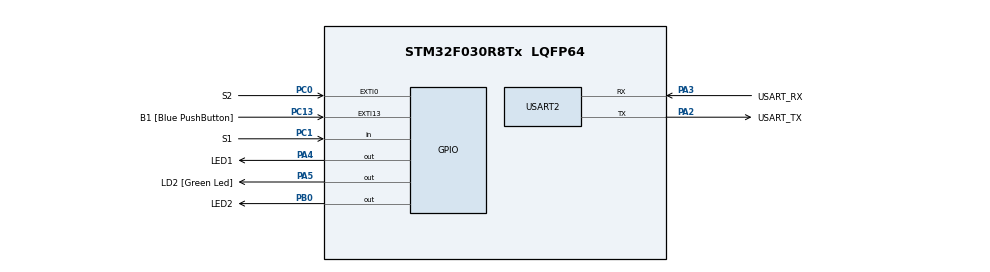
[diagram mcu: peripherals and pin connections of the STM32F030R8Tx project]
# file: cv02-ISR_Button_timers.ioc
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Mcu.Family=STM32F0
Mcu.Name=STM32F030R8Tx
Mcu.Package=LQFP64
NVIC.EXTI0_1_IRQn=true\:0\:0\:false\:false\:true\:true\:true\:true
PA13.GPIO_Label=TMS
PA13.Mode=Serial_Wire
PA13.Signal=SYS_SWDIO
PA14.GPIO_Label=TCK
PA14.Mode=Serial_Wire
PA14.Signal=SYS_SWCLK
PA2.GPIO_Label=USART_TX
PA2.GPIO_Mode=GPIO_MODE_AF_PP
PA2.GPIO_PuPd=GPIO_NOPULL
PA2.GPIO_Speed=GPIO_SPEED_FREQ_LOW
PA2.Mode=Asynchronous
PA2.Signal=USART2_TX
PA3.GPIO_Label=USART_RX
PA3.GPIO_Mode=GPIO_MODE_AF_PP
PA3.GPIO_PuPd=GPIO_NOPULL
PA3.GPIO_Speed=GPIO_SPEED_FREQ_LOW
PA3.Mode=Asynchronous
PA3.Signal=USART2_RX
PA4.GPIO_Label=LED1
PA4.Signal=GPIO_Output
PA5.GPIO_Label=LD2 [Green Led]
PA5.GPIO_Mode=GPIO_MODE_OUTPUT_PP
PA5.GPIO_PuPd=GPIO_NOPULL
PA5.GPIO_Speed=GPIO_SPEED_FREQ_LOW
PA5.Signal=GPIO_Output
PB0.GPIO_Label=LED2
PB0.Signal=GPIO_Output
PC0.GPIO_Label=S2
PC0.GPIO_PuPd=GPIO_PULLUP
PC0.Signal=GPXTI0
PC1.GPIO_Label=S1
PC1.GPIO_PuPd=GPIO_PULLUP
PC1.Signal=GPIO_Input
PC13.GPIO_Label=B1 [Blue PushButton]
PC13.GPIO_ModeDefaultEXTI=GPIO_MODE_IT_FALLING
PC13.Signal=GPXTI13
PC14-OSC32_IN.Mode=LSE-External-Oscillator
PC14-OSC32_IN.Signal=RCC_OSC32_IN
PC15-OSC32_OUT.Mode=LSE-External-Oscillator
PC15-OSC32_OUT.Signal=RCC_OSC32_OUT
PF0-OSC_IN.Mode=HSE-External-Clock-Source
PF0-OSC_IN.Signal=RCC_OSC_IN
PF1-OSC_OUT.Signal=RCC_OSC_OUT
ProjectManager.HeapSize=0x200
ProjectManager.StackSize=0x400
ProjectManager.TargetToolchain=STM32CubeIDE
RCC.AHBFreq_Value=48000000
RCC.APB1Freq_Value=48000000
RCC.APB1TimFreq_Value=48000000
RCC.HCLKFreq_Value=48000000
RCC.PLLMUL=RCC_PLL_MUL12
RCC.SYSCLKFreq_VALUE=48000000
RCC.SYSCLKSource=RCC_SYSCLKSOURCE_PLLCLK
USART2.VirtualMode-Asynchronous=VM_ASYNC
board=NUCLEO-F030R8

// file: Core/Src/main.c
/* USER CODE BEGIN Header */
/**
  ******************************************************************************
  * @file           : main.c
  * @brief          : Main program body
  ******************************************************************************
  * @attention
  *
  * Copyright (c) 2023 STMicroelectronics.
  * All rights reserved.
  *
  * This software is licensed under terms that can be found in the LICENSE file
  * in the root directory of this software component.
  * If no LICENSE file comes with this software, it is provided AS-IS.
  *
  ******************************************************************************
  */
/* USER CODE END Header */
#include "main.h"

/* USER CODE BEGIN PD */
#define LED_TIME_BLINK 300
#define LED_TIME_SHORT 100
#define LED_TIME_LONG 1000
/* USER CODE END PD */

void SystemClock_Config(void);
static void MX_GPIO_Init(void);
static void MX_USART2_UART_Init(void);

/* USER CODE BEGIN 0 */
volatile uint32_t Tick;

void blikac(void)	{
	static uint32_t delay;

	if (Tick > delay + LED_TIME_BLINK) {
		delay = Tick;
		LL_GPIO_TogglePin(LED1_GPIO_Port, LED1_Pin);
	}
}

void tlacitka(void)	{
	static uint32_t old_s2;
	static uint32_t old_s1;
	static uint32_t off_time;
	// static uint16_t debounce = 0xFFFF;
	uint32_t new_s2 = LL_GPIO_IsInputPinSet(S2_GPIO_Port, S2_Pin);
	uint32_t new_s1 = LL_GPIO_IsInputPinSet(S1_GPIO_Port, S1_Pin);

	if (old_s2 && !new_s2) {
		off_time = Tick + LED_TIME_SHORT;
		LL_GPIO_SetOutputPin(LED2_GPIO_Port, LED2_Pin);
	}
	old_s2 = new_s2;

	if (old_s1 && !new_s1) {
			off_time = Tick + LED_TIME_LONG;
			LL_GPIO_SetOutputPin(LED2_GPIO_Port, LED2_Pin);
		}
	old_s1 = new_s1;

	if (Tick > off_time) {
		LL_GPIO_ResetOutputPin(LED2_GPIO_Port, LED2_Pin);
	}
}
/* USER CODE END 0 */

int main(void)
{

  /* MCU Configuration--------------------------------------------------------*/

  /* Reset of all peripherals, Initializes the Flash interface and the Systick. */
  LL_APB1_GRP2_EnableClock(LL_APB1_GRP2_PERIPH_SYSCFG);
  LL_APB1_GRP1_EnableClock(LL_APB1_GRP1_PERIPH_PWR);

  /* Configure the system clock */
  SystemClock_Config();

  /* Initialize all configured peripherals */
  MX_GPIO_Init();
  MX_USART2_UART_Init();
  /* USER CODE BEGIN 2 */
  LL_SYSTICK_EnableIT();
  /* USER CODE END 2 */

  /* Infinite loop */
  /* USER CODE BEGIN WHILE */
  while (1)
  {
	  blikac();
	  tlacitka();
    /* USER CODE END WHILE */

  }
}

void SystemClock_Config(void)
{
  LL_FLASH_SetLatency(LL_FLASH_LATENCY_1);
  while(LL_FLASH_GetLatency() != LL_FLASH_LATENCY_1)
  {
  }
  LL_RCC_HSI_Enable();

   /* Wait till HSI is ready */
  while(LL_RCC_HSI_IsReady() != 1)
  {

  }
  LL_RCC_HSI_SetCalibTrimming(16);
  LL_RCC_PLL_ConfigDomain_SYS(LL_RCC_PLLSOURCE_HSI_DIV_2, LL_RCC_PLL_MUL_12);
  LL_RCC_PLL_Enable();

   /* Wait till PLL is ready */
  while(LL_RCC_PLL_IsReady() != 1)
  {

  }
  LL_RCC_SetAHBPrescaler(LL_RCC_SYSCLK_DIV_1);
  LL_RCC_SetAPB1Prescaler(LL_RCC_APB1_DIV_1);
  LL_RCC_SetSysClkSource(LL_RCC_SYS_CLKSOURCE_PLL);

   /* Wait till System clock is ready */
  while(LL_RCC_GetSysClkSource() != LL_RCC_SYS_CLKSOURCE_STATUS_PLL)
  {

  }
  LL_Init1msTick(48000000);
  LL_SetSystemCoreClock(48000000);
}

static void MX_USART2_UART_Init(void)
{

  LL_USART_InitTypeDef USART_InitStruct = {0};

  LL_GPIO_InitTypeDef GPIO_InitStruct = {0};

  /* Peripheral clock enable */
  LL_APB1_GRP1_EnableClock(LL_APB1_GRP1_PERIPH_USART2);

  LL_AHB1_GRP1_EnableClock(LL_AHB1_GRP1_PERIPH_GPIOA);
  /**USART2 GPIO Configuration
  PA2   ------> USART2_TX
  PA3   ------> USART2_RX
  */
  GPIO_InitStruct.Pin = USART_TX_Pin;
  GPIO_InitStruct.Mode = LL_GPIO_MODE_ALTERNATE;
  GPIO_InitStruct.Speed = LL_GPIO_SPEED_FREQ_LOW;
  GPIO_InitStruct.OutputType = LL_GPIO_OUTPUT_PUSHPULL;
  GPIO_InitStruct.Pull = LL_GPIO_PULL_NO;
  GPIO_InitStruct.Alternate = LL_GPIO_AF_1;
  LL_GPIO_Init(USART_TX_GPIO_Port, &GPIO_InitStruct);

  GPIO_InitStruct.Pin = USART_RX_Pin;
  GPIO_InitStruct.Mode = LL_GPIO_MODE_ALTERNATE;
  GPIO_InitStruct.Speed = LL_GPIO_SPEED_FREQ_LOW;
  GPIO_InitStruct.OutputType = LL_GPIO_OUTPUT_PUSHPULL;
  GPIO_InitStruct.Pull = LL_GPIO_PULL_NO;
  GPIO_InitStruct.Alternate = LL_GPIO_AF_1;
  LL_GPIO_Init(USART_RX_GPIO_Port, &GPIO_InitStruct);

  USART_InitStruct.BaudRate = 38400;
  USART_InitStruct.DataWidth = LL_USART_DATAWIDTH_8B;
  USART_InitStruct.StopBits = LL_USART_STOPBITS_1;
  USART_InitStruct.Parity = LL_USART_PARITY_NONE;
  USART_InitStruct.TransferDirection = LL_USART_DIRECTION_TX_RX;
  USART_InitStruct.HardwareFlowControl = LL_USART_HWCONTROL_NONE;
  USART_InitStruct.OverSampling = LL_USART_OVERSAMPLING_16;
  LL_USART_Init(USART2, &USART_InitStruct);
  LL_USART_DisableIT_CTS(USART2);
  LL_USART_ConfigAsyncMode(USART2);
  LL_USART_Enable(USART2);

}

static void MX_GPIO_Init(void)
{
  LL_EXTI_InitTypeDef EXTI_InitStruct = {0};
  LL_GPIO_InitTypeDef GPIO_InitStruct = {0};

  /* GPIO Ports Clock Enable */
  LL_AHB1_GRP1_EnableClock(LL_AHB1_GRP1_PERIPH_GPIOC);
  LL_AHB1_GRP1_EnableClock(LL_AHB1_GRP1_PERIPH_GPIOF);
  LL_AHB1_GRP1_EnableClock(LL_AHB1_GRP1_PERIPH_GPIOA);
  LL_AHB1_GRP1_EnableClock(LL_AHB1_GRP1_PERIPH_GPIOB);

  /**/
  LL_GPIO_ResetOutputPin(LED1_GPIO_Port, LED1_Pin);

  /**/
  LL_GPIO_ResetOutputPin(LD2_GPIO_Port, LD2_Pin);

  /**/
  LL_GPIO_ResetOutputPin(LED2_GPIO_Port, LED2_Pin);

  /**/
  LL_SYSCFG_SetEXTISource(LL_SYSCFG_EXTI_PORTC, LL_SYSCFG_EXTI_LINE13);

  /**/
  LL_GPIO_SetPinPull(B1_GPIO_Port, B1_Pin, LL_GPIO_PULL_NO);

  /**/
  LL_GPIO_SetPinMode(B1_GPIO_Port, B1_Pin, LL_GPIO_MODE_INPUT);

  /**/
  EXTI_InitStruct.Line_0_31 = LL_EXTI_LINE_13;
  EXTI_InitStruct.LineCommand = ENABLE;
  EXTI_InitStruct.Mode = LL_EXTI_MODE_IT;
  EXTI_InitStruct.Trigger = LL_EXTI_TRIGGER_FALLING;
  LL_EXTI_Init(&EXTI_InitStruct);

  /**/
  GPIO_InitStruct.Pin = S2_Pin;
  GPIO_InitStruct.Mode = LL_GPIO_MODE_INPUT;
  GPIO_InitStruct.Pull = LL_GPIO_PULL_UP;
  LL_GPIO_Init(S2_GPIO_Port, &GPIO_InitStruct);

  /**/
  GPIO_InitStruct.Pin = S1_Pin;
  GPIO_InitStruct.Mode = LL_GPIO_MODE_INPUT;
  GPIO_InitStruct.Pull = LL_GPIO_PULL_UP;
  LL_GPIO_Init(S1_GPIO_Port, &GPIO_InitStruct);

  /**/
  GPIO_InitStruct.Pin = LED1_Pin;
  GPIO_InitStruct.Mode = LL_GPIO_MODE_OUTPUT;
  GPIO_InitStruct.Speed = LL_GPIO_SPEED_FREQ_LOW;
  GPIO_InitStruct.OutputType = LL_GPIO_OUTPUT_PUSHPULL;
  GPIO_InitStruct.Pull = LL_GPIO_PULL_NO;
  LL_GPIO_Init(LED1_GPIO_Port, &GPIO_InitStruct);

  /**/
  GPIO_InitStruct.Pin = LD2_Pin;
  GPIO_InitStruct.Mode = LL_GPIO_MODE_OUTPUT;
  GPIO_InitStruct.Speed = LL_GPIO_SPEED_FREQ_LOW;
  GPIO_InitStruct.OutputType = LL_GPIO_OUTPUT_PUSHPULL;
  GPIO_InitStruct.Pull = LL_GPIO_PULL_NO;
  LL_GPIO_Init(LD2_GPIO_Port, &GPIO_InitStruct);

  /**/
  GPIO_InitStruct.Pin = LED2_Pin;
  GPIO_InitStruct.Mode = LL_GPIO_MODE_OUTPUT;
  GPIO_InitStruct.Speed = LL_GPIO_SPEED_FREQ_LOW;
  GPIO_InitStruct.OutputType = LL_GPIO_OUTPUT_PUSHPULL;
  GPIO_InitStruct.Pull = LL_GPIO_PULL_NO;
  LL_GPIO_Init(LED2_GPIO_Port, &GPIO_InitStruct);

}

void Error_Handler(void)
{
  __disable_irq();
  while (1)
  {
  }
}
